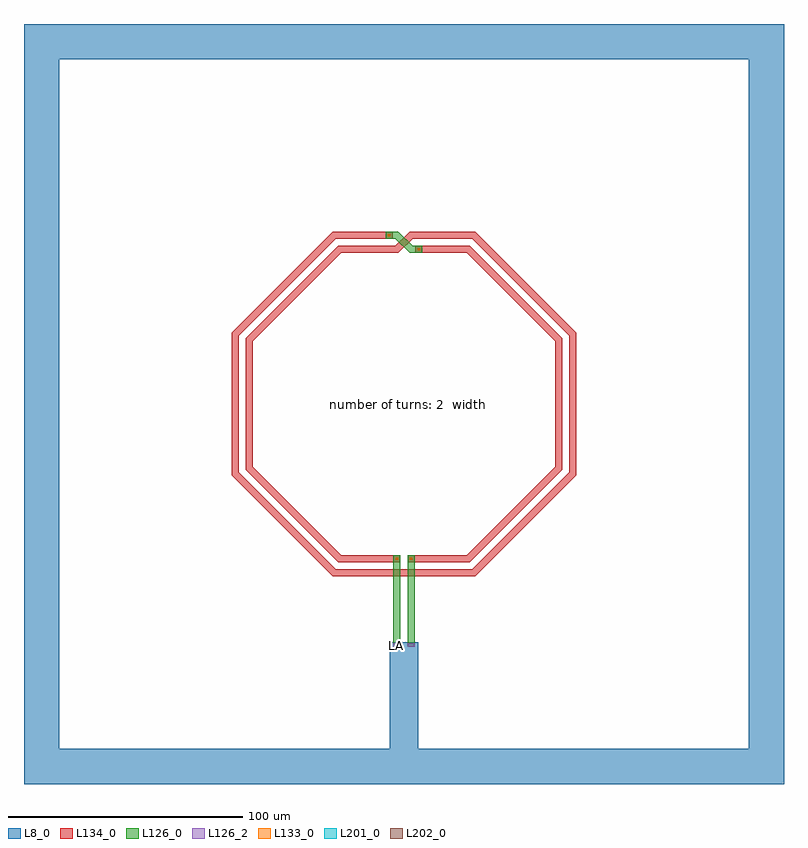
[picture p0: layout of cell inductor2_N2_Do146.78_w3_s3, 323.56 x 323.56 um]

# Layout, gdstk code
import gdstk
lib = gdstk.Library(unit=1e-6, precision=1e-09)
def R(c, l, rs):  # rectangles x0, y0, x1, y1
    for r in rs: c.add(gdstk.rectangle(r[:2], r[2:], *l))
def P(c, l, *ps):  # polygons
    for p in ps: c.add(gdstk.Polygon(p, *l))
L8_0 = (8, 0)
L126_0 = (126, 0)
L126_2 = (126, 2)
L133_0 = (133, 0)
L134_0 = (134, 0)
L201_0 = (201, 0)
L202_0 = (202, 0)

inductor2_n2_do146_78_w3 = lib.new_cell('inductor2_N2_Do146.78_w3_s3')
R(inductor2_n2_do146_78_w3, L8_0, [(-161.78,-161.78,-146.78,161.78), (-146.78,-161.78,146.78,-146.78), (146.78,-161.78,161.78,161.78), (-6,-146.78,6,-101.39), (-146.78,146.78,146.78,161.78)])
R(inductor2_n2_do146_78_w3, L126_0, [(-4.5,-103.39,-1.5,-64.39), (1.5,-103.39,4.5,-64.39)])
P(inductor2_n2_do146_78_w3, L126_0, [(-7.86,73.39),(-7.86,70.39),(-3.621,70.39),(2.379,64.39),(7.86,64.39),(7.86,67.39),(3.621,67.39),(-2.379,73.39)])
R(inductor2_n2_do146_78_w3, L126_2, [(-4.5,-103.39,-1.5,-101.89), (1.5,-103.39,4.5,-101.89)])
R(inductor2_n2_do146_78_w3, L133_0, [(-3.45,-66.34,-2.55,-65.44), (2.55,-66.34,3.45,-65.44), (5.92,65.44,6.82,66.34), (-6.82,71.44,-5.92,72.34)])
R(inductor2_n2_do146_78_w3, L134_0, [(-7.865,-73.39,7.865,-70.39)])
P(inductor2_n2_do146_78_w3, L134_0, [(-4.86,-73.39),(-4.86,-70.39),(-29.159,-70.39),(-70.39,-29.159),(-70.39,3),(-73.39,3),(-73.39,-30.401),(-30.401,-73.39)],
  [(-4.86,70.39),(-4.86,73.39),(-30.401,73.39),(-73.39,30.401),(-73.39,-3),(-70.39,-3),(-70.39,29.159),(-29.159,70.39)],
  [(4.86,-70.39),(4.86,-73.39),(30.401,-73.39),(73.39,-30.401),(73.39,3),(70.39,3),(70.39,-29.159),(29.159,-70.39)],
  [(4.86,73.39),(4.86,70.39),(29.159,70.39),(70.39,29.159),(70.39,-3),(73.39,-3),(73.39,30.401),(30.401,73.39)],
  [(-1.5,-67.39),(-1.5,-64.39),(-26.669,-64.39),(-64.39,-26.669),(-64.39,3),(-67.39,3),(-67.39,-27.911),(-27.911,-67.39)],
  [(-4.86,64.39),(-4.86,67.39),(-27.911,67.39),(-67.39,27.911),(-67.39,-3),(-64.39,-3),(-64.39,26.669),(-26.669,64.39)],
  [(1.5,-64.39),(1.5,-67.39),(27.911,-67.39),(67.39,-27.911),(67.39,3),(64.39,3),(64.39,-26.669),(26.669,-64.39)],
  [(4.86,67.39),(4.86,64.39),(26.669,64.39),(64.39,26.669),(64.39,-3),(67.39,-3),(67.39,27.911),(27.911,67.39)],
  [(-7.86,67.39),(-7.86,64.39),(-2.379,64.39),(3.621,70.39),(7.86,70.39),(7.86,73.39),(2.379,73.39),(-3.621,67.39)])
R(inductor2_n2_do146_78_w3, L201_0, [(-4.5,-103.39,-1.5,-103.29)])
R(inductor2_n2_do146_78_w3, L202_0, [(1.5,-103.39,4.5,-103.29)])
inductor2_n2_do146_78_w3.add(gdstk.Label('LA', (-3,-102.64), layer=27, texttype=25))
inductor2_n2_do146_78_w3.add(gdstk.Label('LB', (3,-102.64), layer=27, texttype=25))
inductor2_n2_do146_78_w3.add(gdstk.Label('  number of turns: 2\n  width: 3.00\n  spacing: 3.00\n  outer diameter: 146.78\n  inner diameter: 128.78\n', (0,0), layer=63, texttype=0))

lib.write_gds('inductor2_N2_Do146.78_w3_s3.gds')
